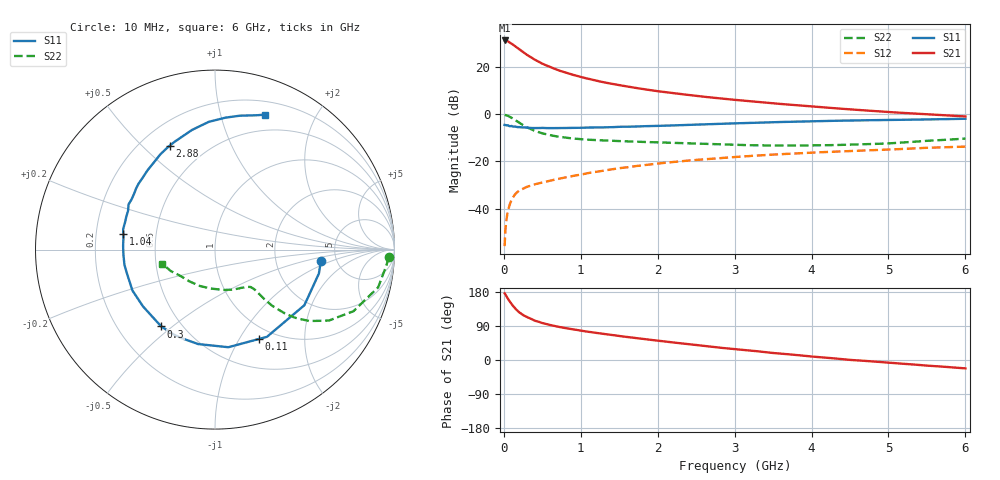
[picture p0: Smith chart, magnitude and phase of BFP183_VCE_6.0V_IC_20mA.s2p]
! Infineon Technologies  Discrete & RF Semiconductors
! BFP183
! VCE = 6.0 V,  IC =  20 mA
! Common Emitter S-Parameters:  Jan 2016
# GHz  S  MA  R  50
!  f  S11  S21  S12  S22
! GHz  MAG  ANG  MAG  ANG  MAG  ANG  MAG  ANG
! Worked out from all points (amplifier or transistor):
!   210 points, 10 MHz to 6 GHz, reference 50 ohm
!   highest |S21| = 31.3 dB at 10 MHz (marker M1)
!   |S21| within 3 dB of that: start of sweep to 171 MHz
!   unconditionally stable (mu >= 1): 898.4 MHz to 5.754 GHz
!   at 185 MHz: K = 0.36, MSG = 30.3 dB, |S12| = -32.7 dB
!   at 1.52 GHz: K = 1.11, MAG = 15.5 dB, |S12| = -22.8 dB
!   at 6 GHz: K = 0.96, MSG = 6.4 dB, |S12| = -13.7 dB
!   S11 on the Smith chart (normalised r, x): 10 MHz: 3.76, -0.74; 110 MHz: 0.85, -1.22; 300 MHz: 0.39, -0.46; 1.04 GHz: 0.32, +0.08; 2.88 GHz: 0.32, +0.61; 6 GHz: 0.33, +1.39
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0.01  0.5935 -6.2  36.61 176.0  0.0016 85.4  0.969 -2.5
0.02  0.594 -13.0  36.59 172.9  0.0035 78.8  0.9592 -5.2
0.05  0.5865 -31.9  35.37 162.3  0.0086 79.2  0.9332 -13.0
0.1  0.5656 -59.2  31.47 147.4  0.0154 64.5  0.8443 -24.0
0.11  0.5552 -63.6  30.58 145.2  0.0164 63.1  0.8239 -25.4
0.15  0.549 -82.2  27.55 135.1  0.0205 58.8  0.7479 -31.9
0.2  0.5346 -100.1  23.86 125.7  0.0242 55.2  0.6579 -37.2
0.24  0.5274 -111.1  21.22 120.1  0.0261 52.2  0.6003 -39.8
0.3  0.5226 -125.0  18.17 113.0  0.0289 49.3  0.5272 -42.4
0.4  0.511 -141.7  14.38 103.9  0.0327 48.3  0.4459 -44.5
0.5  0.5134 -153.7  11.79 97.5  0.0358 48.4  0.3937 -45.1
0.6  0.5081 -162.8  10.05 92.4  0.0393 49.0  0.3597 -45.1
0.7  0.5116 -170.4  8.626 88.0  0.0424 49.9  0.3358 -45.1
1.02  0.5163 171.2  6.043 76.9  0.0533 51.7  0.2948 -46.0
1.04  0.5181 170.3  5.937 76.3  0.0542 51.7  0.2931 -46.1
1.5  0.5433 152.5  4.139 63.3  0.0718 51.5  0.27 -50.5
2.02  0.5675 135.5  3.05 50.6  0.0909 48.6  0.2534 -59.1
2.88  0.6313 113.5  2.111 31.1  0.1203 42.0  0.2283 -78.9
3.1  0.6473 108.6  1.952 26.8  0.1273 40.1  0.2224 -84.9
4.1  0.7167 91.3  1.421 7.6  0.1562 31.3  0.2195 -116.0
5.1  0.7616 78.5  1.089 -8.5  0.1812 23.9  0.2465 -144.7
6  0.802 69.6  0.898 -22.1  0.2061 15.7  0.3048 -165.0
